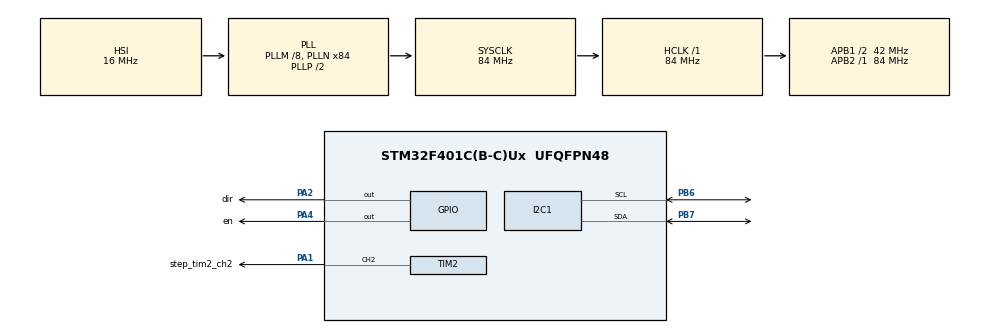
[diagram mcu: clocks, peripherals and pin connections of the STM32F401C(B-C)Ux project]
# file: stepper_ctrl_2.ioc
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I2C1.OwnAddress=0x12
Mcu.Family=STM32F4
Mcu.Name=STM32F401C(B-C)Ux
Mcu.Package=UFQFPN48
NVIC.I2C1_ER_IRQn=true\:0\:0\:false\:false\:true\:true\:true\:true
NVIC.I2C1_EV_IRQn=true\:0\:0\:false\:false\:true\:true\:true\:true
NVIC.PriorityGroup=NVIC_PRIORITYGROUP_4
PA1.GPIO_Label=step_tim2_ch2
PA1.Signal=S_TIM2_CH2
PA13.Mode=Serial_Wire
PA13.Signal=SYS_JTMS-SWDIO
PA14.Mode=Serial_Wire
PA14.Signal=SYS_JTCK-SWCLK
PA2.GPIO_Label=dir
PA2.Signal=GPIO_Output
PA4.GPIO_Label=en
PA4.Signal=GPIO_Output
PB6.Mode=I2C
PB6.Signal=I2C1_SCL
PB7.Mode=I2C
PB7.Signal=I2C1_SDA
PC14-OSC32_IN.Mode=LSE-External-Oscillator
PC14-OSC32_IN.Signal=RCC_OSC32_IN
PC15-OSC32_OUT.Mode=LSE-External-Oscillator
PC15-OSC32_OUT.Signal=RCC_OSC32_OUT
PH0\ -\ OSC_IN.Mode=HSE-External-Oscillator
PH0\ -\ OSC_IN.Signal=RCC_OSC_IN
PH1\ -\ OSC_OUT.Mode=HSE-External-Oscillator
PH1\ -\ OSC_OUT.Signal=RCC_OSC_OUT
ProjectManager.HeapSize=0x200
ProjectManager.StackSize=0x400
ProjectManager.TargetToolchain=STM32CubeIDE
RCC.48MHZClocksFreq_Value=42000000
RCC.AHBFreq_Value=84000000
RCC.APB1CLKDivider=RCC_HCLK_DIV2
RCC.APB1Freq_Value=42000000
RCC.APB1TimFreq_Value=84000000
RCC.APB2Freq_Value=84000000
RCC.APB2TimFreq_Value=84000000
RCC.CortexFreq_Value=84000000
RCC.HCLKFreq_Value=84000000
RCC.HSE_VALUE=25000000
RCC.HSI_VALUE=16000000
RCC.PLLM=8
RCC.PLLN=84
RCC.SYSCLKFreq_VALUE=84000000
RCC.SYSCLKSource=RCC_SYSCLKSOURCE_PLLCLK
RCC.VCOOutputFreq_Value=168000000
SH.S_TIM2_CH2.0=TIM2_CH2,PWM Generation2 CH2
TIM2.AutoReloadPreload=TIM_AUTORELOAD_PRELOAD_ENABLE
TIM2.Channel-PWM\ Generation2\ CH2=TIM_CHANNEL_2
TIM2.OCFastMode_PWM-PWM\ Generation2\ CH2=TIM_OCFAST_DISABLE
TIM2.Period=999
TIM2.Prescaler=83
TIM2.Pulse-PWM\ Generation2\ CH2=500
VP_TIM2_VS_ClockSourceINT.Mode=Internal
board=custom

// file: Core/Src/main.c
/* USER CODE BEGIN Header */
/**
  ******************************************************************************
  * @file           : main.c
  * @brief          : Main program body
  ******************************************************************************
  * @attention
  *
  * Copyright (c) 2025 STMicroelectronics.
  * All rights reserved.
  *
  * This software is licensed under terms that can be found in the LICENSE file
  * in the root directory of this software component.
  * If no LICENSE file comes with this software, it is provided AS-IS.
  *
  ******************************************************************************
  */
/* USER CODE END Header */
#include "main.h"

I2C_HandleTypeDef hi2c1;

TIM_HandleTypeDef htim2;

void SystemClock_Config(void);
static void MX_GPIO_Init(void);
static void MX_TIM2_Init(void);
static void MX_I2C1_Init(void);

/* USER CODE BEGIN 0 */
void stepper_set_speed_hz(uint32_t step_hz)
{
    // Timer clock = 1 MHz (PSC = 83)
    uint32_t arr = (1000000 / step_hz) - 1;

    __HAL_TIM_SET_AUTORELOAD(&htim2, arr);
    __HAL_TIM_SET_COMPARE(&htim2, TIM_CHANNEL_2, arr / 2); // 50% duty
}

void stepper_enable(void)
{
    // Most drivers: ENABLE is active LOW
    HAL_GPIO_WritePin(GPIOB, GPIO_PIN_5, GPIO_PIN_RESET);
}

void stepper_disable(void)
{
    HAL_GPIO_WritePin(GPIOB, GPIO_PIN_5, GPIO_PIN_SET);
}

void stepper_set_direction(uint8_t direction)
{
    if (direction) // 1 = forward
        HAL_GPIO_WritePin(GPIOB, GPIO_PIN_4, GPIO_PIN_SET);
    else           // 0 = reverse
        HAL_GPIO_WritePin(GPIOB, GPIO_PIN_4, GPIO_PIN_RESET);
}

void move_stepper(uint8_t direction, uint32_t duration_sec, uint32_t steps_per_second)
{
    // 1. Set direction
    stepper_set_direction(direction);

    // 2. Enable driver
    stepper_enable();

    // 3. Set speed
    stepper_set_speed_hz(steps_per_second);

    // 4. Start STEP pulses (hardware PWM)
    HAL_TIM_PWM_Start(&htim2, TIM_CHANNEL_2);

    // 5. Run for duration
    HAL_Delay(duration_sec * 1000);

    // 6. Stop motor
    HAL_TIM_PWM_Stop(&htim2, TIM_CHANNEL_2);

    // 7. Optional: disable driver
    stepper_disable();
}
/* USER CODE END 0 */

int main(void)
{

  /* MCU Configuration--------------------------------------------------------*/

  /* Reset of all peripherals, Initializes the Flash interface and the Systick. */
  HAL_Init();

  /* Configure the system clock */
  SystemClock_Config();

  /* Initialize all configured peripherals */
  MX_GPIO_Init();
  MX_TIM2_Init();
  MX_I2C1_Init();
  /* USER CODE BEGIN 2 */
  // Forward, 5 seconds, 500 steps/sec
  move_stepper(1, 5, 10000);

//  move_stepper(0, 5, 500);

  /* USER CODE END 2 */

  /* Infinite loop */
  while (1)
  {

  }
}

void SystemClock_Config(void)
{
  RCC_OscInitTypeDef RCC_OscInitStruct = {0};
  RCC_ClkInitTypeDef RCC_ClkInitStruct = {0};

  /** Configure the main internal regulator output voltage
  */
  __HAL_RCC_PWR_CLK_ENABLE();
  __HAL_PWR_VOLTAGESCALING_CONFIG(PWR_REGULATOR_VOLTAGE_SCALE2);

  /** Initializes the RCC Oscillators according to the specified parameters
  * in the RCC_OscInitTypeDef structure.
  */
  RCC_OscInitStruct.OscillatorType = RCC_OSCILLATORTYPE_HSI;
  RCC_OscInitStruct.HSIState = RCC_HSI_ON;
  RCC_OscInitStruct.HSICalibrationValue = RCC_HSICALIBRATION_DEFAULT;
  RCC_OscInitStruct.PLL.PLLState = RCC_PLL_ON;
  RCC_OscInitStruct.PLL.PLLSource = RCC_PLLSOURCE_HSI;
  RCC_OscInitStruct.PLL.PLLM = 8;
  RCC_OscInitStruct.PLL.PLLN = 84;
  RCC_OscInitStruct.PLL.PLLP = RCC_PLLP_DIV2;
  RCC_OscInitStruct.PLL.PLLQ = 4;
  if (HAL_RCC_OscConfig(&RCC_OscInitStruct) != HAL_OK)
  {
    Error_Handler();
  }

  /** Initializes the CPU, AHB and APB buses clocks
  */
  RCC_ClkInitStruct.ClockType = RCC_CLOCKTYPE_HCLK|RCC_CLOCKTYPE_SYSCLK
                              |RCC_CLOCKTYPE_PCLK1|RCC_CLOCKTYPE_PCLK2;
  RCC_ClkInitStruct.SYSCLKSource = RCC_SYSCLKSOURCE_PLLCLK;
  RCC_ClkInitStruct.AHBCLKDivider = RCC_SYSCLK_DIV1;
  RCC_ClkInitStruct.APB1CLKDivider = RCC_HCLK_DIV2;
  RCC_ClkInitStruct.APB2CLKDivider = RCC_HCLK_DIV1;

  if (HAL_RCC_ClockConfig(&RCC_ClkInitStruct, FLASH_LATENCY_2) != HAL_OK)
  {
    Error_Handler();
  }
}

static void MX_I2C1_Init(void)
{

  hi2c1.Instance = I2C1;
  hi2c1.Init.ClockSpeed = 100000;
  hi2c1.Init.DutyCycle = I2C_DUTYCYCLE_2;
  hi2c1.Init.OwnAddress1 = 36;
  hi2c1.Init.AddressingMode = I2C_ADDRESSINGMODE_7BIT;
  hi2c1.Init.DualAddressMode = I2C_DUALADDRESS_DISABLE;
  hi2c1.Init.OwnAddress2 = 0;
  hi2c1.Init.GeneralCallMode = I2C_GENERALCALL_DISABLE;
  hi2c1.Init.NoStretchMode = I2C_NOSTRETCH_DISABLE;
  if (HAL_I2C_Init(&hi2c1) != HAL_OK)
  {
    Error_Handler();
  }

}

static void MX_TIM2_Init(void)
{

  TIM_ClockConfigTypeDef sClockSourceConfig = {0};
  TIM_MasterConfigTypeDef sMasterConfig = {0};
  TIM_OC_InitTypeDef sConfigOC = {0};

  htim2.Instance = TIM2;
  htim2.Init.Prescaler = 83;
  htim2.Init.CounterMode = TIM_COUNTERMODE_UP;
  htim2.Init.Period = 999;
  htim2.Init.ClockDivision = TIM_CLOCKDIVISION_DIV1;
  htim2.Init.AutoReloadPreload = TIM_AUTORELOAD_PRELOAD_ENABLE;
  if (HAL_TIM_Base_Init(&htim2) != HAL_OK)
  {
    Error_Handler();
  }
  sClockSourceConfig.ClockSource = TIM_CLOCKSOURCE_INTERNAL;
  if (HAL_TIM_ConfigClockSource(&htim2, &sClockSourceConfig) != HAL_OK)
  {
    Error_Handler();
  }
  if (HAL_TIM_PWM_Init(&htim2) != HAL_OK)
  {
    Error_Handler();
  }
  sMasterConfig.MasterOutputTrigger = TIM_TRGO_RESET;
  sMasterConfig.MasterSlaveMode = TIM_MASTERSLAVEMODE_DISABLE;
  if (HAL_TIMEx_MasterConfigSynchronization(&htim2, &sMasterConfig) != HAL_OK)
  {
    Error_Handler();
  }
  sConfigOC.OCMode = TIM_OCMODE_PWM1;
  sConfigOC.Pulse = 500;
  sConfigOC.OCPolarity = TIM_OCPOLARITY_HIGH;
  sConfigOC.OCFastMode = TIM_OCFAST_DISABLE;
  if (HAL_TIM_PWM_ConfigChannel(&htim2, &sConfigOC, TIM_CHANNEL_2) != HAL_OK)
  {
    Error_Handler();
  }
  HAL_TIM_MspPostInit(&htim2);

}

static void MX_GPIO_Init(void)
{
  GPIO_InitTypeDef GPIO_InitStruct = {0};

  /* GPIO Ports Clock Enable */
  __HAL_RCC_GPIOC_CLK_ENABLE();
  __HAL_RCC_GPIOH_CLK_ENABLE();
  __HAL_RCC_GPIOA_CLK_ENABLE();
  __HAL_RCC_GPIOB_CLK_ENABLE();

  /*Configure GPIO pin Output Level */
  HAL_GPIO_WritePin(GPIOA, dir_Pin|en_Pin, GPIO_PIN_RESET);

  /*Configure GPIO pins : dir_Pin en_Pin */
  GPIO_InitStruct.Pin = dir_Pin|en_Pin;
  GPIO_InitStruct.Mode = GPIO_MODE_OUTPUT_PP;
  GPIO_InitStruct.Pull = GPIO_NOPULL;
  GPIO_InitStruct.Speed = GPIO_SPEED_FREQ_LOW;
  HAL_GPIO_Init(GPIOA, &GPIO_InitStruct);

}

void Error_Handler(void)
{
  __disable_irq();
  while (1)
  {
  }
}
